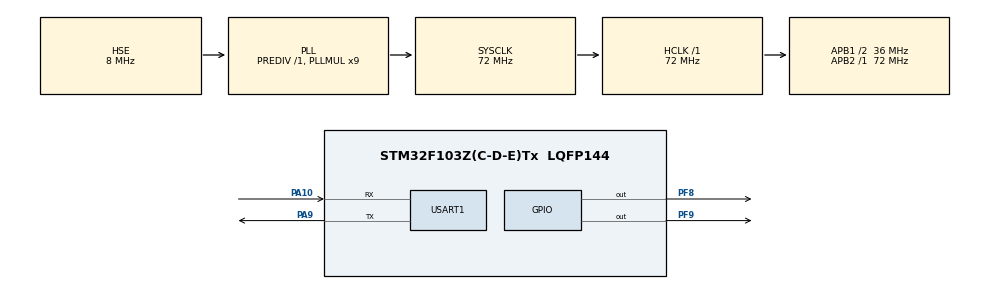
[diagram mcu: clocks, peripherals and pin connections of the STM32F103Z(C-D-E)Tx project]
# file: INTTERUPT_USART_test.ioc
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Mcu.Family=STM32F1
Mcu.Name=STM32F103Z(C-D-E)Tx
Mcu.Package=LQFP144
NVIC.PriorityGroup=NVIC_PRIORITYGROUP_4
NVIC.USART1_IRQn=true\:0\:0\:false\:false\:true\:true\:true\:true
OSC_IN.Mode=HSE-External-Oscillator
OSC_IN.Signal=RCC_OSC_IN
OSC_OUT.Mode=HSE-External-Oscillator
OSC_OUT.Signal=RCC_OSC_OUT
PA10.Mode=Asynchronous
PA10.Signal=USART1_RX
PA13.Mode=Serial_Wire
PA13.Signal=SYS_JTMS-SWDIO
PA14.Mode=Serial_Wire
PA14.Signal=SYS_JTCK-SWCLK
PA9.Mode=Asynchronous
PA9.Signal=USART1_TX
PF8.PinState=GPIO_PIN_SET
PF8.Signal=GPIO_Output
PF9.PinState=GPIO_PIN_SET
PF9.Signal=GPIO_Output
ProjectManager.HeapSize=0x200
ProjectManager.StackSize=0x400
ProjectManager.TargetToolchain=MDK-ARM V5.32
RCC.AHBFreq_Value=72000000
RCC.APB1CLKDivider=RCC_HCLK_DIV2
RCC.APB1Freq_Value=36000000
RCC.APB1TimFreq_Value=72000000
RCC.APB2Freq_Value=72000000
RCC.APB2TimFreq_Value=72000000
RCC.HCLKFreq_Value=72000000
RCC.PLLMUL=RCC_PLL_MUL9
RCC.PLLSourceVirtual=RCC_PLLSOURCE_HSE
RCC.SYSCLKFreq_VALUE=72000000
RCC.SYSCLKSource=RCC_SYSCLKSOURCE_PLLCLK
RCC.USBFreq_Value=72000000
USART1.Parity=PARITY_ODD
USART1.VirtualMode=VM_ASYNC
USART1.WordLength=WORDLENGTH_9B
board=custom

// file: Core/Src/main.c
/* USER CODE BEGIN Header */
/**
  ******************************************************************************
  * @file           : main.c
  * @brief          : Main program body
  ******************************************************************************
  * @attention
  *
  * Copyright (c) 2026 STMicroelectronics.
  * All rights reserved.
  *
  * This software is licensed under terms that can be found in the LICENSE file
  * in the root directory of this software component.
  * If no LICENSE file comes with this software, it is provided AS-IS.
  *
  ******************************************************************************
  */
/* USER CODE END Header */
#include "main.h"

/* USER CODE BEGIN PM */
#define BUFFER_SIZE 128
/* USER CODE END PM */

UART_HandleTypeDef huart1;

/* USER CODE BEGIN PV */
volatile static uint16_t rx_index = 0;//当前读写位
static uint8_t  rx_buffer[BUFFER_SIZE];//缓冲区
static uint8_t  tx_buffer[BUFFER_SIZE];

volatile uint8_t tx_ready = 0;
uint16_t tx_len = 0;

/* USER CODE END PV */

void SystemClock_Config(void);
static void MX_GPIO_Init(void);
static void MX_USART1_UART_Init(void);

int main(void)
{

  /* MCU Configuration--------------------------------------------------------*/

  /* Reset of all peripherals, Initializes the Flash interface and the Systick. */
  HAL_Init();

  /* Configure the system clock */
  SystemClock_Config();

  /* Initialize all configured peripherals */
  MX_GPIO_Init();
  MX_USART1_UART_Init();
  /* USER CODE BEGIN 2 */

  HAL_UART_Receive_IT(&huart1, &rx_buffer[rx_index], 1);

  /* USER CODE END 2 */

  /* Infinite loop */
  /* USER CODE BEGIN WHILE */
  while (1)
  {
    //标志位
    // if(tx_ready == 1)
    //   {
    //       tx_ready = 0;
    //       // 在主循环里从容调用中断发送，CPU瞬间返回，后台自动推数据！
    //       HAL_UART_Transmit_IT(&huart1, tx_buffer, tx_len);
    //   }
    /* USER CODE END WHILE */

  }
}

void SystemClock_Config(void)
{
  RCC_OscInitTypeDef RCC_OscInitStruct = {0};
  RCC_ClkInitTypeDef RCC_ClkInitStruct = {0};

  /** Initializes the RCC Oscillators according to the specified parameters
  * in the RCC_OscInitTypeDef structure.
  */
  RCC_OscInitStruct.OscillatorType = RCC_OSCILLATORTYPE_HSE;
  RCC_OscInitStruct.HSEState = RCC_HSE_ON;
  RCC_OscInitStruct.HSEPredivValue = RCC_HSE_PREDIV_DIV1;
  RCC_OscInitStruct.HSIState = RCC_HSI_ON;
  RCC_OscInitStruct.PLL.PLLState = RCC_PLL_ON;
  RCC_OscInitStruct.PLL.PLLSource = RCC_PLLSOURCE_HSE;
  RCC_OscInitStruct.PLL.PLLMUL = RCC_PLL_MUL9;
  if (HAL_RCC_OscConfig(&RCC_OscInitStruct) != HAL_OK)
  {
    Error_Handler();
  }

  /** Initializes the CPU, AHB and APB buses clocks
  */
  RCC_ClkInitStruct.ClockType = RCC_CLOCKTYPE_HCLK|RCC_CLOCKTYPE_SYSCLK
                              |RCC_CLOCKTYPE_PCLK1|RCC_CLOCKTYPE_PCLK2;
  RCC_ClkInitStruct.SYSCLKSource = RCC_SYSCLKSOURCE_PLLCLK;
  RCC_ClkInitStruct.AHBCLKDivider = RCC_SYSCLK_DIV1;
  RCC_ClkInitStruct.APB1CLKDivider = RCC_HCLK_DIV2;
  RCC_ClkInitStruct.APB2CLKDivider = RCC_HCLK_DIV1;

  if (HAL_RCC_ClockConfig(&RCC_ClkInitStruct, FLASH_LATENCY_2) != HAL_OK)
  {
    Error_Handler();
  }
}

static void MX_USART1_UART_Init(void)
{

  huart1.Instance = USART1;
  huart1.Init.BaudRate = 115200;
  huart1.Init.WordLength = UART_WORDLENGTH_9B;
  huart1.Init.StopBits = UART_STOPBITS_1;
  huart1.Init.Parity = UART_PARITY_ODD;
  huart1.Init.Mode = UART_MODE_TX_RX;
  huart1.Init.HwFlowCtl = UART_HWCONTROL_NONE;
  huart1.Init.OverSampling = UART_OVERSAMPLING_16;
  if (HAL_UART_Init(&huart1) != HAL_OK)
  {
    Error_Handler();
  }

}

static void MX_GPIO_Init(void)
{
  GPIO_InitTypeDef GPIO_InitStruct = {0};

  /* GPIO Ports Clock Enable */
  __HAL_RCC_GPIOF_CLK_ENABLE();
  __HAL_RCC_GPIOA_CLK_ENABLE();

  /*Configure GPIO pin Output Level */
  HAL_GPIO_WritePin(GPIOF, GPIO_PIN_8|GPIO_PIN_9, GPIO_PIN_SET);

  /*Configure GPIO pins : PF8 PF9 */
  GPIO_InitStruct.Pin = GPIO_PIN_8|GPIO_PIN_9;
  GPIO_InitStruct.Mode = GPIO_MODE_OUTPUT_PP;
  GPIO_InitStruct.Pull = GPIO_NOPULL;
  GPIO_InitStruct.Speed = GPIO_SPEED_FREQ_LOW;
  HAL_GPIO_Init(GPIOF, &GPIO_InitStruct);

}

/* USER CODE BEGIN 4 */

//上课
void Handler_Data(void)
{
  HAL_GPIO_WritePin(GPIOF, GPIO_PIN_8, GPIO_PIN_RESET);
  uint16_t rx_total = rx_index + 1;
  for(int i = 0; i < rx_total; i++)
  {
    if(rx_buffer[i] >= 'a' && rx_buffer[i] <= 'z')
    {
      tx_buffer[i] = rx_buffer[i] - 32;
    }
    else if(rx_buffer[i] >= 'A' && rx_buffer[i] <= 'Z')
    {
      tx_buffer[i] = rx_buffer[i] + 32;
    }
    else
    {
      tx_buffer[i] = rx_buffer[i];
    }
  }
}

void HAL_UART_RxCpltCallBack(UART_HandleTypeDef *huart)
{

  HAL_GPIO_WritePin(GPIOF, GPIO_PIN_8, GPIO_PIN_RESET); // 收到任何字节，灯就亮！
  if(huart->Instance == USART1)
  {
    if(rx_index > BUFFER_SIZE-1)
    {
      rx_index = 0;
      HAL_GPIO_WritePin(GPIOF,GPIO_PIN_9,GPIO_PIN_RESET);//error led
      // HAL_UART_Receive_IT(&huart1, &rx_buffer[0], 1);
      return;
    }

    if(rx_buffer[rx_index] == '\n')
    {
      // HAL_GPIO_WritePin(GPIOF, GPIO_PIN_8, GPIO_PIN_RESET);
      Handler_Data();
      HAL_UART_Transmit_IT(&huart1, tx_buffer, rx_index+1);
      rx_index = 0;
    }
    else
    {
    rx_index++;
    }
    HAL_UART_Receive_IT(&huart1, &rx_buffer[rx_index], 1);
  }
}

void HAL_UART_TxCpltCallback(UART_HandleTypeDef *huart)
{
  if(huart->Instance == USART1)
  {
    HAL_GPIO_WritePin(GPIOF, GPIO_PIN_8, GPIO_PIN_SET);
  }
}

//标志位
// void HAL_UART_RxCpltCallback(UART_HandleTypeDef *huart)
// {
//     if(huart->Instance == USART1)
//     {
//         // 1. 溢出保护（必须重新开启，否则死锁）
//         if(rx_index >= BUFFER_SIZE - 2)
//         {
//             rx_index = 0;
//             HAL_UART_Receive_IT(&huart1, &rx_buffer[0], 1);
//             return;
//         }

//         // 2. 遇到换行符，准备发送（不在中断里调用发送函数！）
//         if(rx_buffer[rx_index] == '\n')
//         {
//             Handler_Data();
//             tx_ready = 1; // 只置标志位
//             tx_len = rx_index + 1;
//             rx_index = 0;
//         }
//         else
//         {
//             rx_index++;
//         }

//         // 3. 重新开启接收
//         HAL_UART_Receive_IT(&huart1, &rx_buffer[rx_index], 1);
//     }
// }

// void HAL_UART_ErrorCallback(UART_HandleTypeDef *huart)
// {
//     if(huart->Instance == USART1)
//     {
//         __HAL_UART_CLEAR_OREFLAG(huart);
//         HAL_UART_Receive_IT(&huart1, &rx_buffer[0], 1);
//     }
// }

/* USER CODE END 4 */

void Error_Handler(void)
{
  __disable_irq();
  while (1)
  {
  }
}
